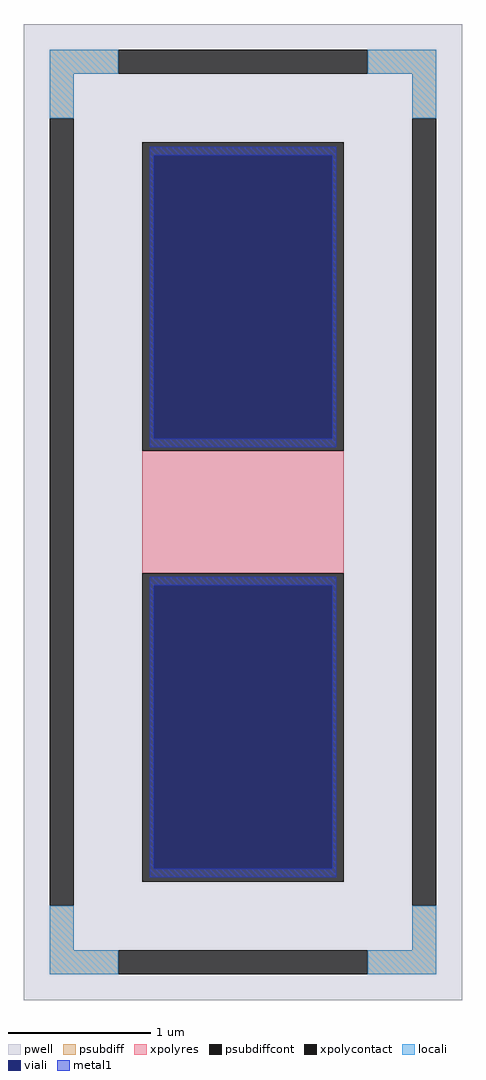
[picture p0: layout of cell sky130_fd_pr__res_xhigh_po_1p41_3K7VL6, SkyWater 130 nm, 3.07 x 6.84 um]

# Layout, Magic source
magic
tech sky130A
magscale 1 2
<< pwell >>
rect -307 -684 307 684
<< psubdiff >>
rect -271 614 -175 648
rect 175 614 271 648
rect -271 552 -237 614
rect 237 552 271 614
rect -271 -614 -237 -552
rect 237 -614 271 -552
rect -271 -648 -175 -614
rect 175 -648 271 -614
<< psubdiffcont >>
rect -175 614 175 648
rect -271 -552 -237 552
rect 237 -552 271 552
rect -175 -648 175 -614
<< xpolycontact >>
rect -141 86 141 518
rect -141 -518 141 -86
<< xpolyres >>
rect -141 -86 141 86
<< locali >>
rect -271 614 -175 648
rect 175 614 271 648
rect -271 552 -237 614
rect 237 552 271 614
rect -271 -614 -237 -552
rect 237 -614 271 -552
rect -271 -648 -175 -614
rect 175 -648 271 -614
<< viali >>
rect -125 103 125 500
rect -125 -500 125 -103
<< metal1 >>
rect -131 500 131 512
rect -131 103 -125 500
rect 125 103 131 500
rect -131 91 131 103
rect -131 -103 131 -91
rect -131 -500 -125 -103
rect 125 -500 131 -103
rect -131 -512 131 -500
<< properties >>
string FIXED_BBOX -254 -631 254 631
string gencell sky130_fd_pr__res_xhigh_po_1p41
string library sky130
string parameters w 1.410 l 1.015 m 1 nx 1 wmin 1.410 lmin 0.50 rho 2000 val 1.706k dummy 0 dw 0.0 term 188.2 sterm 0.0 caplen 0 wmax 1.410 guard 1 glc 1 grc 1 gtc 1 gbc 1 compatible {sky130_fd_pr__res_xhigh_po_0p35  sky130_fd_pr__res_xhigh_po_0p69 sky130_fd_pr__res_xhigh_po_1p41  sky130_fd_pr__res_xhigh_po_2p85 sky130_fd_pr__res_xhigh_po_5p73} snake 0 full_metal 1 n_guard 0 hv_guard 0 vias 1 viagb 0 viagt 0 viagl 0 viagr 0
<< end >>
